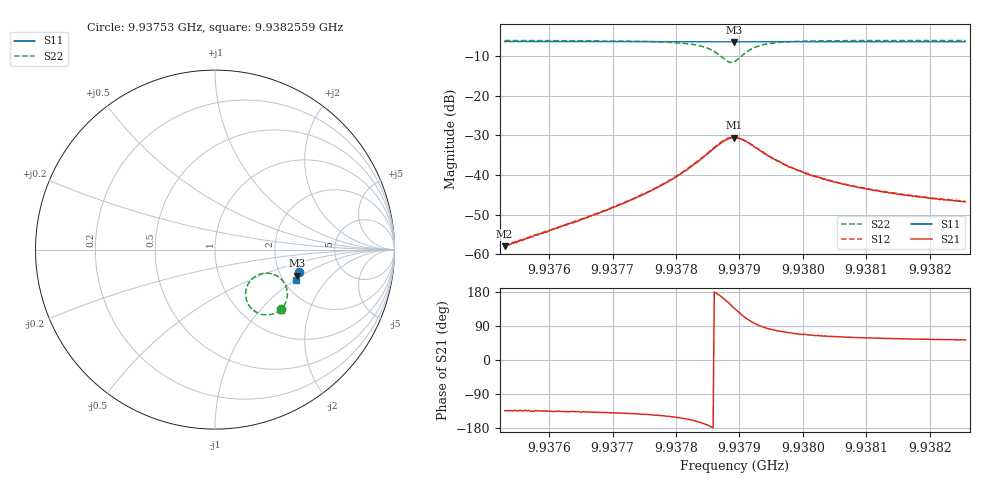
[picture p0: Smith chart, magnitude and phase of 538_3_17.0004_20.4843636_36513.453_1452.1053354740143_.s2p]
#  HZ  S  RI  R  50.00
! Rohde & Schwarz Vector Network Analyzer
! Rohde-Schwarz,ZNB20-2Port,1311601062101988,3.16
! Created: UTC 3/20/2024, 11:16:12 PM
! freq[Hz]  re:S11  im:S11  re:S21  im:S21  re:S12  im:S12  re:S22  im:S22
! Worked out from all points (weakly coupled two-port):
!   401 points, 9.93753 GHz to 9.9382559 GHz, reference 50 ohm
!   highest |S21| = -30.61 dB at 9.9378911 GHz (marker M1); lowest = -58.0 dB at 9.93753 GHz (marker M2)
!   lowest |S11| = -6.4 dB at 9.9378911 GHz (marker M3), VSWR 2.83, Z = 121 - j45.6 ohm
!   |S11| at or under -10 dB: nowhere
!   |S22| runs from -11.6 to -6.1 dB; largest |S21 - S12| = 0.0012
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9.93752999e9  0.4665 -0.1235  -0.00087 -0.000912  -0.000899 -0.000895  0.3681 -0.3325
9.93765158e9  0.4638 -0.1317  -0.00203 -0.00186  -0.00204 -0.0019  0.3522 -0.3445
9.93772055e9  0.4618 -0.1362  -0.00347 -0.00287  -0.0036 -0.00287  0.3355 -0.3533
9.93777318e9  0.4604 -0.14  -0.00591 -0.00395  -0.00609 -0.00392  0.3123 -0.3611
9.93780947e9  0.4591 -0.1425  -0.00946 -0.0047  -0.00975 -0.00463  0.2813 -0.3636
9.93783125e9  0.4581 -0.144  -0.0133 -0.0046  -0.0138 -0.00429  0.2497 -0.3578
9.93784759e9  0.4573 -0.145  -0.0177 -0.00286  -0.0181 -0.00277  0.2162 -0.3402
9.93786029e9  0.4564 -0.1455  -0.0216 0.000184  -0.0222 0.000797  0.1876 -0.3083
9.93787299e9  0.4554 -0.1455  -0.0251 0.00671  -0.0254 0.00765  0.1705 -0.2518
9.93788388e9  0.455 -0.1452  -0.0249 0.0147  -0.0248 0.0158  0.186 -0.1895
9.93789114e9  0.455 -0.1451  -0.0219 0.0198  -0.0216 0.0208  0.2171 -0.1545
9.93789296e9  0.4551 -0.1451  -0.0208 0.0209  -0.0205 0.0219  0.2269 -0.1478
9.93790203e9  0.4555 -0.1452  -0.0147 0.0242  -0.0141 0.0251  0.2797 -0.1315
9.93791474e9  0.4563 -0.1458  -0.00672 0.0242  -0.00587 0.0247  0.3421 -0.1452
9.9379347e9  0.4567 -0.1475  0.000593 0.0198  0.00104 0.0199  0.3891 -0.1923
9.93795466e9  0.4564 -0.1491  0.00312 0.0154  0.00344 0.0156  0.4018 -0.23
9.93797281e9  0.4563 -0.1506  0.00387 0.0127  0.00414 0.0128  0.4031 -0.2535
9.93801455e9  0.4553 -0.1538  0.00401 0.00886  0.00429 0.00901  0.3973 -0.2853
9.93806174e9  0.4541 -0.157  0.00373 0.0067  0.00394 0.00673  0.3893 -0.3042
9.93813615e9  0.4521 -0.1619  0.00324 0.00494  0.0034 0.00497  0.3791 -0.3205
9.93819967e9  0.4502 -0.1661  0.00296 0.00413  0.00306 0.00412  0.3724 -0.3293
9.93825593e9  0.4488 -0.1697  0.00278 0.00364  0.00287 0.00364  0.367 -0.3354
